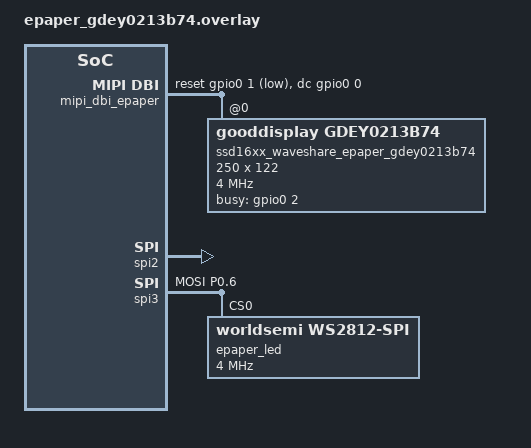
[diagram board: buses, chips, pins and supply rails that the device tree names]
/*
 * Copyright (c) 2024, Kelly Helmut Lord
 *
 * SPDX-License-Identifier: Apache-2.0
 */

#include <dt-bindings/led/led.h>

/* 用户 config 里用 #ifdef SHIELD_EPAPER_GDEY0213B74 判断是否选了这个 shield */
#define SHIELD_EPAPER_GDEY0213B74


/ {
	/* 状态灯显示当前层: 0xRRGGBB, 按 keymap 里层的顺序; 0 灭, 1 蓝, 2 绿, 3 红, 4 紫, 5 青, 6 橙, 7 白.
	 * 指示灯用很低的亮度即可; 用户 config 里用 &layer_led { colors = <...>; }; 改 */
	layer_led: layer_color_led {
		compatible = "zmk,layer-color-led";
		led-strip = <&epaper_led>;
		colors = <0x000000 0x000020 0x002000 0x200000 0x100020 0x001818 0x200800 0x101010>;
	};

	chosen {
		zephyr,display = &ssd16xx_waveshare_epaper_gdey0213b74;
	};

	mipi_dbi_epaper: mipi_dbi_waveshare_epaper_gdey0213b74 {
		compatible = "zephyr,mipi-dbi-spi";
		spi-dev = <&epaper_spi>;
		dc-gpios = <&gpio0 0 GPIO_ACTIVE_HIGH>;
		reset-gpios = <&gpio0 1 GPIO_ACTIVE_LOW>;
		#address-cells = <1>;
		#size-cells = <0>;

		ssd16xx_waveshare_epaper_gdey0213b74: ssd16xxfb@0 {
			compatible = "gooddisplay,gdey0213b74", "solomon,ssd1680";
			mipi-max-frequency = <4000000>;
			reg = <0>;
			width = <250>;
			height = <122>;
			busy-gpios = <&gpio0 2 GPIO_ACTIVE_HIGH>;
            rotation = <90>;

			tssv = <0x80>;

			full {
				border-waveform = <0x05>;
			};

			partial {
				border-waveform = <0x3c>;
			};
		};
	};
};



epaper_spi: &spi2 {
    status = "okay";
    cs-gpios = <&gpio0 8 GPIO_ACTIVE_LOW>;
};

&pinctrl {
    spi2_default: spi2_default {
        group1 {
            psels = <NRF_PSEL(SPIM_SCK, 0, 9)>,
                    <NRF_PSEL(SPIM_MOSI, 0, 10)>;
        };
    };

    spi2_sleep: spi2_sleep {
        group1 {
            psels = <NRF_PSEL(SPIM_SCK, 0, 9)>,
                    <NRF_PSEL(SPIM_MOSI, 0, 10)>;
            low-power-enable;
        };
    };
};

/* 模块上的状态灯 SK6805-EC20 (WS2812 时序): DIN 接一个单独 SPIM 的 MOSI, 只用 MOSI;
 * 引脚由用户 config 覆盖 &epaper_led_default / &epaper_led_sleep */
&spi3 {
    status = "okay";
    /delete-property/ cs-gpios;
    pinctrl-0 = <&epaper_led_default>;
    pinctrl-1 = <&epaper_led_sleep>;
    pinctrl-names = "default", "sleep";

    epaper_led: ws2812@0 {
        compatible = "worldsemi,ws2812-spi";
        reg = <0>;
        spi-max-frequency = <4000000>;
        chain-length = <1>;
        spi-one-frame = <0x70>;
        spi-zero-frame = <0x40>;
        color-mapping = <LED_COLOR_ID_GREEN LED_COLOR_ID_RED LED_COLOR_ID_BLUE>;
    };
};

&pinctrl {
    epaper_led_default: epaper_led_default {
        group1 {
            psels = <NRF_PSEL(SPIM_MOSI, 0, 6)>;
        };
    };

    epaper_led_sleep: epaper_led_sleep {
        group1 {
            psels = <NRF_PSEL(SPIM_MOSI, 0, 6)>;
            low-power-enable;
        };
    };
};
